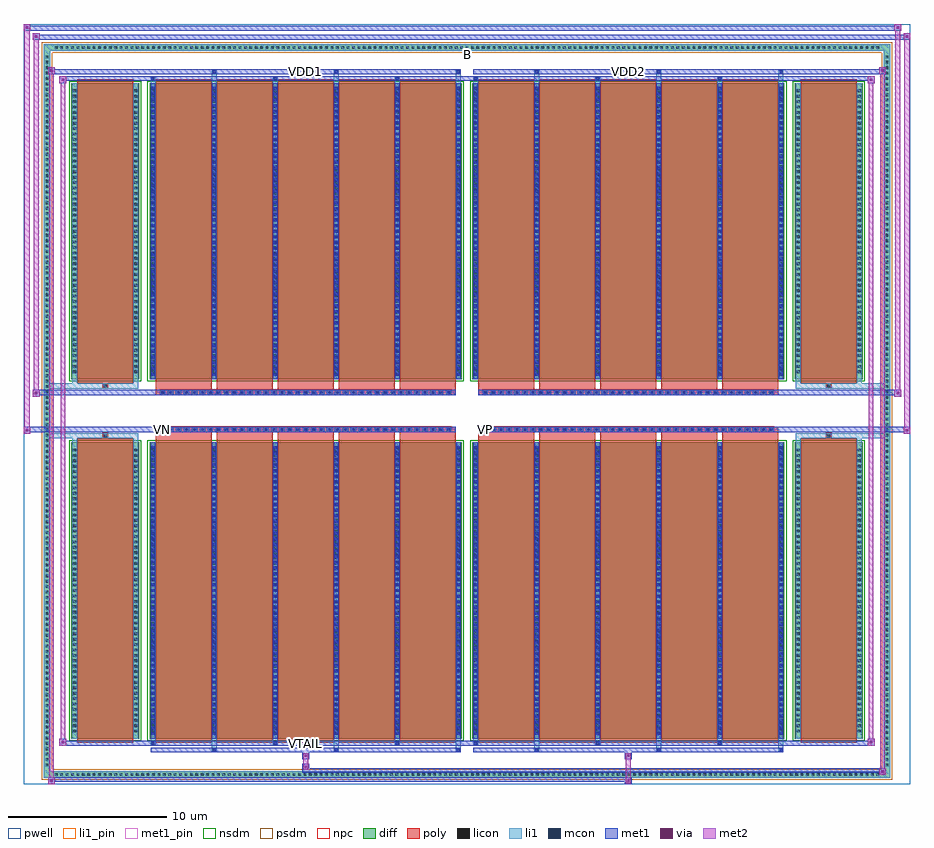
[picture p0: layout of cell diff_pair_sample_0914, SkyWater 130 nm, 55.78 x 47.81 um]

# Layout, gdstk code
import gdstk
lib = gdstk.Library(unit=1e-6, precision=5e-09)
def R(c, l, rs):  # rectangles x0, y0, x1, y1
    for r in rs: c.add(gdstk.rectangle(r[:2], r[2:], *l))
def A(c, l, x, y, w, h, nx, ny, dx, dy):  # array of equal rectangles
    R(c, l, [(x+i*dx, y+j*dy, x+i*dx+w, y+j*dy+h) for i in range(nx) for j in range(ny)])
def P(c, l, *ps):  # polygons
    for p in ps: c.add(gdstk.Polygon(p, *l))
pwell = (64, 44)
diff = (65, 20)
poly = (66, 20)
licon = (66, 44)
li1_pin = (67, 16)
li1 = (67, 20)
mcon = (67, 44)
met1_pin = (68, 16)
met1 = (68, 20)
via = (68, 44)
met2 = (69, 20)
nsdm = (93, 44)
psdm = (94, 20)
npc = (95, 20)

diff_pair_sample_0914 = lib.new_cell('diff_pair_sample_0914')
R(diff_pair_sample_0914, pwell, [(-27.89,-23.47,27.89,24.34), (-25.21,-21.66,-0.01,-0.8), (0.01,-21.66,25.21,-0.8), (-25.21,0.8,-0.01,21.66), (0.01,0.8,25.21,21.66)])
A(diff_pair_sample_0914, diff, -26.045, -23.07, 0.41, 0.41, 153, 2, 0.34, 45.73)
A(diff_pair_sample_0914, diff, -26.62, -22.475, 0.41, 0.41, 1, 132, 0, 0.34)
A(diff_pair_sample_0914, diff, 26.21, -22.475, 0.41, 0.41, 1, 132, 0, 0.34)
R(diff_pair_sample_0914, diff, [(-26.045,-23.07,26.045,-22.66), (-26.62,-22.475,-26.21,22.475), (26.21,-22.475,26.62,22.475), (-24.9,-20.615,-20.61,-1.985), (-19.97,-20.615,-0.32,-1.985), (0.32,-20.615,19.97,-1.985), (20.61,-20.615,24.9,-1.985), (-24.9,1.985,-20.61,20.615), (-19.97,1.985,-0.32,20.615), (0.32,1.985,19.97,20.615), (20.61,1.985,24.9,20.615), (-26.045,22.66,26.045,23.07)])
P(diff_pair_sample_0914, diff, [(26.62,23.07),(-26.62,23.07),(-26.62,-22.66),(-26.21,-22.66),(-26.21,22.66),(26.21,22.66),(26.21,-22.66),(-26.21,-22.66),(-26.62,-22.66),(-26.62,-23.07),(26.62,-23.07)])
A(diff_pair_sample_0914, poly, -19.58, -20.865, 3.51, 19.13, 5, 2, 3.84, 22.6)
A(diff_pair_sample_0914, poly, 0.71, -20.865, 3.51, 19.13, 5, 2, 3.84, 22.6)
A(diff_pair_sample_0914, poly, -19.58, -1.735, 3.51, 0.405, 5, 2, 3.84, 3.065)
A(diff_pair_sample_0914, poly, 0.71, -1.735, 3.51, 0.405, 5, 2, 3.84, 3.065)
A(diff_pair_sample_0914, poly, -19.31, -1.33, 0.33, 0.33, 37, 2, 0.5, 2.33)
A(diff_pair_sample_0914, poly, 0.98, -1.33, 0.33, 0.33, 37, 2, 0.5, 2.33)
R(diff_pair_sample_0914, poly, [(-24.51,-20.865,-21,-1.735), (21,-20.865,24.51,-1.735), (-22.92,-1.735,-22.59,-1.405), (-22.92,-1.735,-22.59,-1.405), (22.59,-1.735,22.92,-1.405), (22.59,-1.735,22.92,-1.405), (-19.58,-1.33,-0.71,-1), (0.71,-1.33,19.58,-1), (-19.58,1,-0.71,1.33), (0.71,1,19.58,1.33), (-22.92,1.405,-22.59,1.735), (-22.92,1.405,-22.59,1.735), (22.59,1.405,22.92,1.735), (22.59,1.405,22.92,1.735), (-24.51,1.735,-21,20.865), (21,1.735,24.51,20.865)])
A(diff_pair_sample_0914, licon, -25.925, -22.95, 0.17, 0.17, 153, 2, 0.34, 45.73)
A(diff_pair_sample_0914, licon, -26.5, -22.355, 0.17, 0.17, 1, 132, 0, 0.34)
A(diff_pair_sample_0914, licon, 26.33, -22.355, 0.17, 0.17, 1, 132, 0, 0.34)
A(diff_pair_sample_0914, licon, -24.76, -20.225, 0.17, 0.17, 1, 53, 0, 0.34)
A(diff_pair_sample_0914, licon, -20.92, -20.225, 0.17, 0.17, 1, 53, 0, 0.34)
A(diff_pair_sample_0914, licon, -19.83, -20.225, 0.17, 0.17, 6, 53, 3.84, 0.34)
A(diff_pair_sample_0914, licon, 0.46, -20.225, 0.17, 0.17, 6, 53, 3.84, 0.34)
A(diff_pair_sample_0914, licon, 20.75, -20.225, 0.17, 0.17, 1, 53, 0, 0.34)
A(diff_pair_sample_0914, licon, 24.59, -20.225, 0.17, 0.17, 1, 53, 0, 0.34)
A(diff_pair_sample_0914, licon, -19.23, -1.25, 0.17, 0.17, 37, 2, 0.5, 2.33)
A(diff_pair_sample_0914, licon, 1.06, -1.25, 0.17, 0.17, 37, 2, 0.5, 2.33)
A(diff_pair_sample_0914, licon, -24.76, 2.375, 0.17, 0.17, 1, 53, 0, 0.34)
A(diff_pair_sample_0914, licon, -20.92, 2.375, 0.17, 0.17, 1, 53, 0, 0.34)
A(diff_pair_sample_0914, licon, -19.83, 2.375, 0.17, 0.17, 6, 53, 3.84, 0.34)
A(diff_pair_sample_0914, licon, 0.46, 2.375, 0.17, 0.17, 6, 53, 3.84, 0.34)
A(diff_pair_sample_0914, licon, 20.75, 2.375, 0.17, 0.17, 1, 53, 0, 0.34)
A(diff_pair_sample_0914, licon, 24.59, 2.375, 0.17, 0.17, 1, 53, 0, 0.34)
R(diff_pair_sample_0914, licon, [(-22.84,-1.655,-22.67,-1.485), (22.67,-1.655,22.84,-1.485), (-22.84,1.485,-22.67,1.655), (22.67,1.485,22.84,1.655)])
R(diff_pair_sample_0914, li1_pin, [(-0.25,22.16,0.25,22.66)])
A(diff_pair_sample_0914, li1, -26.005, -23.03, 0.33, 0.33, 153, 2, 0.34, 45.73)
A(diff_pair_sample_0914, li1, -26.58, -22.435, 0.33, 0.33, 1, 132, 0, 0.34)
A(diff_pair_sample_0914, li1, 26.25, -22.435, 0.33, 0.33, 1, 132, 0, 0.34)
A(diff_pair_sample_0914, li1, -16.07, -21.42, 0.33, 0.805, 3, 2, 7.68, 42.035)
A(diff_pair_sample_0914, li1, -15.99, -21.42, 0.17, 0.17, 3, 2, 7.68, 42.67)
A(diff_pair_sample_0914, li1, 4.22, -21.42, 0.33, 0.805, 3, 2, 7.68, 42.035)
A(diff_pair_sample_0914, li1, 4.3, -21.42, 0.17, 0.17, 3, 2, 7.68, 42.67)
A(diff_pair_sample_0914, li1, -19.91, -20.99, 0.33, 0.375, 3, 2, 7.68, 41.605)
A(diff_pair_sample_0914, li1, -19.83, -20.99, 0.17, 0.17, 3, 2, 7.68, 41.81)
A(diff_pair_sample_0914, li1, 0.38, -20.99, 0.33, 0.375, 3, 2, 7.68, 41.605)
A(diff_pair_sample_0914, li1, 0.46, -20.99, 0.17, 0.17, 3, 2, 7.68, 41.81)
A(diff_pair_sample_0914, li1, -19.91, -20.615, 0.33, 18.63, 6, 2, 3.84, 22.6)
A(diff_pair_sample_0914, li1, 0.38, -20.615, 0.33, 18.63, 6, 2, 3.84, 22.6)
A(diff_pair_sample_0914, li1, -19.83, -20.385, 0.17, 0.17, 6, 51, 3.84, 0.36)
A(diff_pair_sample_0914, li1, -19.83, -20.385, 0.17, 18.17, 6, 2, 3.84, 22.6)
A(diff_pair_sample_0914, li1, 0.46, -20.385, 0.17, 0.17, 6, 51, 3.84, 0.36)
A(diff_pair_sample_0914, li1, 0.46, -20.385, 0.17, 18.17, 6, 2, 3.84, 22.6)
A(diff_pair_sample_0914, li1, -24.84, -20.305, 0.33, 0.33, 1, 53, 0, 0.34)
A(diff_pair_sample_0914, li1, -21, -20.305, 0.33, 0.33, 1, 53, 0, 0.34)
A(diff_pair_sample_0914, li1, -19.91, -20.305, 0.33, 0.33, 6, 53, 3.84, 0.34)
A(diff_pair_sample_0914, li1, 0.38, -20.305, 0.33, 0.33, 6, 53, 3.84, 0.34)
A(diff_pair_sample_0914, li1, 20.67, -20.305, 0.33, 0.33, 1, 53, 0, 0.34)
A(diff_pair_sample_0914, li1, 24.51, -20.305, 0.33, 0.33, 1, 53, 0, 0.34)
A(diff_pair_sample_0914, li1, -19.31, -1.33, 0.33, 0.33, 37, 2, 0.5, 2.33)
A(diff_pair_sample_0914, li1, 0.98, -1.33, 0.33, 0.33, 37, 2, 0.5, 2.33)
A(diff_pair_sample_0914, li1, -19.83, 2.215, 0.17, 0.17, 6, 51, 3.84, 0.36)
A(diff_pair_sample_0914, li1, 0.46, 2.215, 0.17, 0.17, 6, 51, 3.84, 0.36)
A(diff_pair_sample_0914, li1, -24.84, 2.295, 0.33, 0.33, 1, 53, 0, 0.34)
A(diff_pair_sample_0914, li1, -21, 2.295, 0.33, 0.33, 1, 53, 0, 0.34)
A(diff_pair_sample_0914, li1, -19.91, 2.295, 0.33, 0.33, 6, 53, 3.84, 0.34)
A(diff_pair_sample_0914, li1, 0.38, 2.295, 0.33, 0.33, 6, 53, 3.84, 0.34)
A(diff_pair_sample_0914, li1, 20.67, 2.295, 0.33, 0.33, 1, 53, 0, 0.34)
A(diff_pair_sample_0914, li1, 24.51, 2.295, 0.33, 0.33, 1, 53, 0, 0.34)
R(diff_pair_sample_0914, li1, [(-26.62,-23.07,-26.21,-22.66), (-26.62,-23.07,-26.21,-22.66), (-26.21,-23.07,26.21,-22.66), (26.21,-23.07,26.62,-22.66), (26.21,-23.07,26.62,-22.66), (-26.62,-22.66,-26.21,22.66), (26.21,-22.66,26.62,22.66), (-24.84,-20.615,-24.51,-1.985), (-21,-20.615,-20.67,-1.985), (20.67,-20.615,21,-1.985), (24.51,-20.615,24.84,-1.985), (-24.84,-1.985,-24.51,-1.405), (-21,-1.985,-20.67,-1.405), (20.67,-1.985,21,-1.405), (24.51,-1.985,24.84,-1.405), (-26.62,-1.735,-22.92,-1.405), (-24.84,-1.735,-22.92,-1.405), (-22.92,-1.735,-22.59,-1.405), (-22.59,-1.735,-20.67,-1.405), (20.67,-1.735,22.59,-1.405), (22.59,-1.735,22.92,-1.405), (22.59,-1.735,26.62,-1.405), (22.92,-1.735,24.84,-1.405), (-26.62,1.405,-22.92,1.735), (-24.84,1.405,-22.92,1.735), (-24.84,1.405,-24.51,1.985), (-22.92,1.405,-22.59,1.735), (-22.59,1.405,-20.67,1.735), (-21,1.405,-20.67,1.985), (20.67,1.405,22.59,1.735), (20.67,1.405,21,1.985), (22.59,1.405,22.92,1.735), (22.59,1.405,26.62,1.735), (22.92,1.405,24.84,1.735), (24.51,1.405,24.84,1.985), (-24.84,1.985,-24.51,20.615), (-21,1.985,-20.67,20.615), (20.67,1.985,21,20.615), (24.51,1.985,24.84,20.615), (-26.62,22.66,-26.21,23.07), (-26.62,22.66,-26.21,23.07), (-26.21,22.66,26.21,23.07), (26.21,22.66,26.62,23.07), (26.21,22.66,26.62,23.07)])
A(diff_pair_sample_0914, mcon, -15.99, -21.42, 0.17, 0.17, 3, 2, 7.68, 42.67)
A(diff_pair_sample_0914, mcon, 4.3, -21.42, 0.17, 0.17, 3, 2, 7.68, 42.67)
A(diff_pair_sample_0914, mcon, -19.83, -20.99, 0.17, 0.17, 3, 2, 7.68, 41.81)
A(diff_pair_sample_0914, mcon, 0.46, -20.99, 0.17, 0.17, 3, 2, 7.68, 41.81)
A(diff_pair_sample_0914, mcon, -19.83, -20.385, 0.17, 0.17, 6, 51, 3.84, 0.36)
A(diff_pair_sample_0914, mcon, 0.46, -20.385, 0.17, 0.17, 6, 51, 3.84, 0.36)
A(diff_pair_sample_0914, mcon, -19.23, -1.25, 0.17, 0.17, 37, 2, 0.5, 2.33)
A(diff_pair_sample_0914, mcon, 1.06, -1.25, 0.17, 0.17, 37, 2, 0.5, 2.33)
A(diff_pair_sample_0914, mcon, -19.83, 2.215, 0.17, 0.17, 6, 51, 3.84, 0.36)
A(diff_pair_sample_0914, mcon, 0.46, 2.215, 0.17, 0.17, 6, 51, 3.84, 0.36)
R(diff_pair_sample_0914, met1_pin, [(-10.28,-21.03,-10.01,-20.76), (-19.28,-1.29,-19.01,-1.02), (1.01,-1.29,1.28,-1.02), (-10.28,21.21,-10.01,21.48), (10.01,21.21,10.28,21.48)])
A(diff_pair_sample_0914, met1, -16.05, -21.48, 0.29, 0.29, 3, 2, 7.68, 42.67)
A(diff_pair_sample_0914, met1, 4.24, -21.48, 0.29, 0.29, 3, 2, 7.68, 42.67)
A(diff_pair_sample_0914, met1, -19.89, -21.05, 0.29, 0.29, 3, 2, 7.68, 41.81)
A(diff_pair_sample_0914, met1, 0.4, -21.05, 0.29, 0.29, 3, 2, 7.68, 41.81)
A(diff_pair_sample_0914, met1, -19.89, -20.615, 0.29, 18.63, 6, 2, 3.84, 22.6)
A(diff_pair_sample_0914, met1, 0.4, -20.615, 0.29, 18.63, 6, 2, 3.84, 22.6)
A(diff_pair_sample_0914, met1, -19.89, -20.445, 0.29, 0.29, 6, 51, 3.84, 0.36)
A(diff_pair_sample_0914, met1, 0.4, -20.445, 0.29, 0.29, 6, 51, 3.84, 0.36)
A(diff_pair_sample_0914, met1, -19.29, -1.31, 0.29, 0.29, 37, 2, 0.5, 2.33)
A(diff_pair_sample_0914, met1, 1, -1.31, 0.29, 0.29, 37, 2, 0.5, 2.33)
A(diff_pair_sample_0914, met1, -19.89, 2.155, 0.29, 0.29, 6, 51, 3.84, 0.36)
A(diff_pair_sample_0914, met1, 0.4, 2.155, 0.29, 0.29, 6, 51, 3.84, 0.36)
R(diff_pair_sample_0914, met1, [(-26.35,-23.47,-25.92,-23.04), (9.93,-23.47,10.36,-23.04), (-26.35,-23.33,10.36,-23.04), (25.92,-22.9,26.35,-22.47), (-10.36,-22.76,26.35,-22.47), (-10.36,-22.62,-9.93,-22.19), (-10.36,-21.91,-9.93,-21.48), (9.93,-21.91,10.36,-21.48), (-19.89,-21.48,-0.4,-21.19), (0.4,-21.48,19.89,-21.19), (-25.64,-21.05,-25.21,-20.62), (-25.64,-21.05,-19.89,-20.76), (-19.89,-21.05,-0.4,-20.76), (-0.4,-21.05,0.4,-20.76), (0.4,-21.05,19.89,-20.76), (19.89,-21.05,25.64,-20.76), (25.21,-21.05,25.64,-20.62), (-27.89,-1.43,-27.46,-1), (27.46,-1.43,27.89,-1), (-27.89,-1.33,-0.71,-1), (-19.58,-1.33,-0.71,-1), (0.71,-1.33,19.58,-1), (0.71,-1.33,27.89,-1), (-27.32,0.9,-26.89,1.33), (26.89,0.9,27.32,1.33), (-27.32,1,-19.58,1.33), (-19.58,1,-0.71,1.33), (0.71,1,19.58,1.33), (19.58,1,27.32,1.33), (-25.64,20.62,-25.21,21.05), (25.21,20.62,25.64,21.05), (-25.64,20.76,-19.89,21.05), (-19.89,20.76,-0.4,21.05), (-0.4,20.76,0.4,21.05), (0.4,20.76,19.89,21.05), (19.89,20.76,25.64,21.05), (-26.35,21.19,-25.92,21.62), (-26.35,21.19,-19.89,21.48), (-19.89,21.19,-0.4,21.48), (0.4,21.19,19.89,21.48), (19.89,21.19,26.35,21.48), (25.92,21.19,26.35,21.62), (-27.32,23.34,-26.89,23.77), (-27.32,23.34,-25.21,23.67), (-25.21,23.34,25.21,23.67), (25.21,23.34,27.89,23.67), (27.46,23.34,27.89,23.77), (-27.89,23.91,-27.46,24.34), (-27.89,23.91,-25.21,24.24), (-25.21,23.91,25.21,24.24), (25.21,23.91,27.32,24.24), (26.89,23.91,27.32,24.34)])
R(diff_pair_sample_0914, via, [(-26.21,-23.33,-26.06,-23.18), (10.07,-23.33,10.22,-23.18), (26.06,-22.76,26.21,-22.61), (-10.22,-22.48,-10.07,-22.33), (-10.22,-21.77,-10.07,-21.62), (10.07,-21.77,10.22,-21.62), (-25.5,-20.91,-25.35,-20.76), (25.35,-20.91,25.5,-20.76), (-27.75,-1.29,-27.6,-1.14), (27.6,-1.29,27.75,-1.14), (-27.18,1.04,-27.03,1.19), (27.03,1.04,27.18,1.19), (-25.5,20.76,-25.35,20.91), (25.35,20.76,25.5,20.91), (-26.21,21.33,-26.06,21.48), (26.06,21.33,26.21,21.48), (-27.18,23.48,-27.03,23.63), (27.6,23.48,27.75,23.63), (-27.75,24.05,-27.6,24.2), (27.03,24.05,27.18,24.2)])
R(diff_pair_sample_0914, met2, [(-26.35,-23.47,-25.92,-23.04), (-26.28,-23.47,-25.99,21.62), (-25.99,-23.47,-25.92,-23.04), (-26.3,-23.42,-25.97,-23.09), (9.98,-23.42,10.31,-23.09), (9.98,-23.09,10.31,-21.86), (25.92,-22.9,26.35,-22.47), (25.99,-22.9,26.28,21.62), (26.28,-22.9,26.35,-22.47), (25.97,-22.85,26.3,-22.52), (-10.31,-22.57,-9.98,-22.24), (-10.31,-22.24,-9.98,-21.86), (-10.31,-21.86,-9.98,-21.53), (9.98,-21.86,10.31,-21.53), (-25.64,-21.05,-25.21,-20.62), (-25.57,-21.05,-25.28,21.05), (-25.28,-21.05,-25.21,-20.62), (25.21,-21.05,25.64,-20.62), (25.28,-21.05,25.57,21.05), (25.57,-21.05,25.64,-20.62), (-25.59,-21,-25.26,-20.67), (25.26,-21,25.59,-20.67), (-27.89,-1.43,-27.46,-1), (-27.84,-1.43,-27.51,24.34), (-27.51,-1.43,-27.46,-1), (27.46,-1.43,27.89,-1), (27.51,-1.43,27.84,23.77), (27.84,-1.43,27.89,-1), (-27.84,-1.38,-27.51,-1.05), (27.51,-1.38,27.84,-1.05), (-27.32,0.9,-26.89,1.33), (-27.27,0.9,-26.94,23.77), (-26.94,0.9,-26.89,1.33), (26.89,0.9,27.32,1.33), (26.94,0.9,27.27,24.34), (27.27,0.9,27.32,1.33), (-27.27,0.95,-26.94,1.28), (26.94,0.95,27.27,1.28), (-25.64,20.62,-25.21,21.05), (-25.28,20.62,-25.21,21.05), (25.21,20.62,25.64,21.05), (25.57,20.62,25.64,21.05), (-25.59,20.67,-25.26,21), (25.26,20.67,25.59,21), (-26.35,21.19,-25.92,21.62), (-25.99,21.19,-25.92,21.62), (25.92,21.19,26.35,21.62), (26.28,21.19,26.35,21.62), (-26.3,21.24,-25.97,21.57), (25.97,21.24,26.3,21.57), (-27.32,23.34,-26.89,23.77), (-26.94,23.34,-26.89,23.77), (27.46,23.34,27.89,23.77), (27.84,23.34,27.89,23.77), (-27.27,23.39,-26.94,23.72), (27.51,23.39,27.84,23.72), (-27.89,23.91,-27.46,24.34), (-27.51,23.91,-27.46,24.34), (26.89,23.91,27.32,24.34), (27.27,23.91,27.32,24.34), (-27.84,23.96,-27.51,24.29), (26.94,23.96,27.27,24.29)])
R(diff_pair_sample_0914, nsdm, [(-25.03,-20.745,-20.48,-1.855), (-20.1,-20.745,-0.19,-1.855), (0.19,-20.745,20.1,-1.855), (20.48,-20.745,25.03,-1.855), (-25.03,1.855,-20.48,20.745), (-20.1,1.855,-0.19,20.745), (0.19,1.855,20.1,20.745), (20.48,1.855,25.03,20.745)])
P(diff_pair_sample_0914, psdm, [(26.75,23.2),(-26.75,23.2),(-26.75,-22.53),(-26.08,-22.53),(-26.08,22.53),(26.08,22.53),(26.08,-22.53),(-26.08,-22.53),(-26.75,-22.53),(-26.75,-23.2),(26.75,-23.2)])
A(diff_pair_sample_0914, npc, -19.33, -1.35, 0.37, 0.37, 37, 2, 0.5, 2.33)
A(diff_pair_sample_0914, npc, 0.96, -1.35, 0.37, 0.37, 37, 2, 0.5, 2.33)
R(diff_pair_sample_0914, npc, [(-22.94,-1.755,-22.57,-1.385), (22.57,-1.755,22.94,-1.385), (-19.33,-1.35,-18.46,-0.98), (-19.33,-1.35,-18.46,-0.98), (-18.83,-1.35,-17.96,-0.98), (-18.83,-1.35,-17.96,-0.98), (-18.33,-1.35,-17.46,-0.98), (-18.33,-1.35,-17.46,-0.98), (-17.83,-1.35,-16.96,-0.98), (-17.83,-1.35,-16.96,-0.98), (-17.33,-1.35,-16.46,-0.98), (-17.33,-1.35,-16.46,-0.98), (-16.83,-1.35,-15.96,-0.98), (-16.83,-1.35,-15.96,-0.98), (-16.33,-1.35,-15.46,-0.98), (-16.33,-1.35,-15.46,-0.98), (-15.83,-1.35,-14.96,-0.98), (-15.83,-1.35,-14.96,-0.98), (-15.33,-1.35,-14.46,-0.98), (-15.33,-1.35,-14.46,-0.98), (-14.83,-1.35,-13.96,-0.98), (-14.83,-1.35,-13.96,-0.98), (-14.33,-1.35,-13.46,-0.98), (-14.33,-1.35,-13.46,-0.98), (-13.83,-1.35,-12.96,-0.98), (-13.83,-1.35,-12.96,-0.98), (-13.33,-1.35,-12.46,-0.98), (-13.33,-1.35,-12.46,-0.98), (-12.83,-1.35,-11.96,-0.98), (-12.83,-1.35,-11.96,-0.98), (-12.33,-1.35,-11.46,-0.98), (-12.33,-1.35,-11.46,-0.98), (-11.83,-1.35,-10.96,-0.98), (-11.83,-1.35,-10.96,-0.98), (-11.33,-1.35,-10.46,-0.98), (-11.33,-1.35,-10.46,-0.98), (-10.83,-1.35,-9.96,-0.98), (-10.83,-1.35,-9.96,-0.98), (-10.33,-1.35,-9.46,-0.98), (-10.33,-1.35,-9.46,-0.98), (-9.83,-1.35,-8.96,-0.98), (-9.83,-1.35,-8.96,-0.98), (-9.33,-1.35,-8.46,-0.98), (-9.33,-1.35,-8.46,-0.98), (-8.83,-1.35,-7.96,-0.98), (-8.83,-1.35,-7.96,-0.98), (-8.33,-1.35,-7.46,-0.98), (-8.33,-1.35,-7.46,-0.98), (-7.83,-1.35,-6.96,-0.98), (-7.83,-1.35,-6.96,-0.98), (-7.33,-1.35,-6.46,-0.98), (-7.33,-1.35,-6.46,-0.98), (-6.83,-1.35,-5.96,-0.98), (-6.83,-1.35,-5.96,-0.98), (-6.33,-1.35,-5.46,-0.98), (-6.33,-1.35,-5.46,-0.98), (-5.83,-1.35,-4.96,-0.98), (-5.83,-1.35,-4.96,-0.98), (-5.33,-1.35,-4.46,-0.98), (-5.33,-1.35,-4.46,-0.98), (-4.83,-1.35,-3.96,-0.98), (-4.83,-1.35,-3.96,-0.98), (-4.33,-1.35,-3.46,-0.98), (-4.33,-1.35,-3.46,-0.98), (-3.83,-1.35,-2.96,-0.98), (-3.83,-1.35,-2.96,-0.98), (-3.33,-1.35,-2.46,-0.98), (-3.33,-1.35,-2.46,-0.98), (-2.83,-1.35,-1.96,-0.98), (-2.83,-1.35,-1.96,-0.98), (-2.33,-1.35,-1.46,-0.98), (-2.33,-1.35,-1.46,-0.98), (-1.83,-1.35,-0.96,-0.98), (-1.83,-1.35,-0.96,-0.98), (0.96,-1.35,1.83,-0.98), (0.96,-1.35,1.83,-0.98), (1.46,-1.35,2.33,-0.98), (1.46,-1.35,2.33,-0.98), (1.96,-1.35,2.83,-0.98), (1.96,-1.35,2.83,-0.98), (2.46,-1.35,3.33,-0.98), (2.46,-1.35,3.33,-0.98), (2.96,-1.35,3.83,-0.98), (2.96,-1.35,3.83,-0.98), (3.46,-1.35,4.33,-0.98), (3.46,-1.35,4.33,-0.98), (3.96,-1.35,4.83,-0.98), (3.96,-1.35,4.83,-0.98), (4.46,-1.35,5.33,-0.98), (4.46,-1.35,5.33,-0.98), (4.96,-1.35,5.83,-0.98), (4.96,-1.35,5.83,-0.98), (5.46,-1.35,6.33,-0.98), (5.46,-1.35,6.33,-0.98), (5.96,-1.35,6.83,-0.98), (5.96,-1.35,6.83,-0.98), (6.46,-1.35,7.33,-0.98), (6.46,-1.35,7.33,-0.98), (6.96,-1.35,7.83,-0.98), (6.96,-1.35,7.83,-0.98), (7.46,-1.35,8.33,-0.98), (7.46,-1.35,8.33,-0.98), (7.96,-1.35,8.83,-0.98), (7.96,-1.35,8.83,-0.98), (8.46,-1.35,9.33,-0.98), (8.46,-1.35,9.33,-0.98), (8.96,-1.35,9.83,-0.98), (8.96,-1.35,9.83,-0.98), (9.46,-1.35,10.33,-0.98), (9.46,-1.35,10.33,-0.98), (9.96,-1.35,10.83,-0.98), (9.96,-1.35,10.83,-0.98), (10.46,-1.35,11.33,-0.98), (10.46,-1.35,11.33,-0.98), (10.96,-1.35,11.83,-0.98), (10.96,-1.35,11.83,-0.98), (11.46,-1.35,12.33,-0.98), (11.46,-1.35,12.33,-0.98), (11.96,-1.35,12.83,-0.98), (11.96,-1.35,12.83,-0.98), (12.46,-1.35,13.33,-0.98), (12.46,-1.35,13.33,-0.98), (12.96,-1.35,13.83,-0.98), (12.96,-1.35,13.83,-0.98), (13.46,-1.35,14.33,-0.98), (13.46,-1.35,14.33,-0.98), (13.96,-1.35,14.83,-0.98), (13.96,-1.35,14.83,-0.98), (14.46,-1.35,15.33,-0.98), (14.46,-1.35,15.33,-0.98), (14.96,-1.35,15.83,-0.98), (14.96,-1.35,15.83,-0.98), (15.46,-1.35,16.33,-0.98), (15.46,-1.35,16.33,-0.98), (15.96,-1.35,16.83,-0.98), (15.96,-1.35,16.83,-0.98), (16.46,-1.35,17.33,-0.98), (16.46,-1.35,17.33,-0.98), (16.96,-1.35,17.83,-0.98), (16.96,-1.35,17.83,-0.98), (17.46,-1.35,18.33,-0.98), (17.46,-1.35,18.33,-0.98), (17.96,-1.35,18.83,-0.98), (17.96,-1.35,18.83,-0.98), (18.46,-1.35,19.33,-0.98), (18.46,-1.35,19.33,-0.98), (-19.33,0.98,-18.46,1.35), (-19.33,0.98,-18.46,1.35), (-18.83,0.98,-17.96,1.35), (-18.83,0.98,-17.96,1.35), (-18.33,0.98,-17.46,1.35), (-18.33,0.98,-17.46,1.35), (-17.83,0.98,-16.96,1.35), (-17.83,0.98,-16.96,1.35), (-17.33,0.98,-16.46,1.35), (-17.33,0.98,-16.46,1.35), (-16.83,0.98,-15.96,1.35), (-16.83,0.98,-15.96,1.35), (-16.33,0.98,-15.46,1.35), (-16.33,0.98,-15.46,1.35), (-15.83,0.98,-14.96,1.35), (-15.83,0.98,-14.96,1.35), (-15.33,0.98,-14.46,1.35), (-15.33,0.98,-14.46,1.35), (-14.83,0.98,-13.96,1.35), (-14.83,0.98,-13.96,1.35), (-14.33,0.98,-13.46,1.35), (-14.33,0.98,-13.46,1.35), (-13.83,0.98,-12.96,1.35), (-13.83,0.98,-12.96,1.35), (-13.33,0.98,-12.46,1.35), (-13.33,0.98,-12.46,1.35), (-12.83,0.98,-11.96,1.35), (-12.83,0.98,-11.96,1.35), (-12.33,0.98,-11.46,1.35), (-12.33,0.98,-11.46,1.35), (-11.83,0.98,-10.96,1.35), (-11.83,0.98,-10.96,1.35), (-11.33,0.98,-10.46,1.35), (-11.33,0.98,-10.46,1.35), (-10.83,0.98,-9.96,1.35), (-10.83,0.98,-9.96,1.35), (-10.33,0.98,-9.46,1.35), (-10.33,0.98,-9.46,1.35), (-9.83,0.98,-8.96,1.35), (-9.83,0.98,-8.96,1.35), (-9.33,0.98,-8.46,1.35), (-9.33,0.98,-8.46,1.35), (-8.83,0.98,-7.96,1.35), (-8.83,0.98,-7.96,1.35), (-8.33,0.98,-7.46,1.35), (-8.33,0.98,-7.46,1.35), (-7.83,0.98,-6.96,1.35), (-7.83,0.98,-6.96,1.35), (-7.33,0.98,-6.46,1.35), (-7.33,0.98,-6.46,1.35), (-6.83,0.98,-5.96,1.35), (-6.83,0.98,-5.96,1.35), (-6.33,0.98,-5.46,1.35), (-6.33,0.98,-5.46,1.35), (-5.83,0.98,-4.96,1.35), (-5.83,0.98,-4.96,1.35), (-5.33,0.98,-4.46,1.35), (-5.33,0.98,-4.46,1.35), (-4.83,0.98,-3.96,1.35), (-4.83,0.98,-3.96,1.35), (-4.33,0.98,-3.46,1.35), (-4.33,0.98,-3.46,1.35), (-3.83,0.98,-2.96,1.35), (-3.83,0.98,-2.96,1.35), (-3.33,0.98,-2.46,1.35), (-3.33,0.98,-2.46,1.35), (-2.83,0.98,-1.96,1.35), (-2.83,0.98,-1.96,1.35), (-2.33,0.98,-1.46,1.35), (-2.33,0.98,-1.46,1.35), (-1.83,0.98,-0.96,1.35), (-1.83,0.98,-0.96,1.35), (0.96,0.98,1.83,1.35), (0.96,0.98,1.83,1.35), (1.46,0.98,2.33,1.35), (1.46,0.98,2.33,1.35), (1.96,0.98,2.83,1.35), (1.96,0.98,2.83,1.35), (2.46,0.98,3.33,1.35), (2.46,0.98,3.33,1.35), (2.96,0.98,3.83,1.35), (2.96,0.98,3.83,1.35), (3.46,0.98,4.33,1.35), (3.46,0.98,4.33,1.35), (3.96,0.98,4.83,1.35), (3.96,0.98,4.83,1.35), (4.46,0.98,5.33,1.35), (4.46,0.98,5.33,1.35), (4.96,0.98,5.83,1.35), (4.96,0.98,5.83,1.35), (5.46,0.98,6.33,1.35), (5.46,0.98,6.33,1.35), (5.96,0.98,6.83,1.35), (5.96,0.98,6.83,1.35), (6.46,0.98,7.33,1.35), (6.46,0.98,7.33,1.35), (6.96,0.98,7.83,1.35), (6.96,0.98,7.83,1.35), (7.46,0.98,8.33,1.35), (7.46,0.98,8.33,1.35), (7.96,0.98,8.83,1.35), (7.96,0.98,8.83,1.35), (8.46,0.98,9.33,1.35), (8.46,0.98,9.33,1.35), (8.96,0.98,9.83,1.35), (8.96,0.98,9.83,1.35), (9.46,0.98,10.33,1.35), (9.46,0.98,10.33,1.35), (9.96,0.98,10.83,1.35), (9.96,0.98,10.83,1.35), (10.46,0.98,11.33,1.35), (10.46,0.98,11.33,1.35), (10.96,0.98,11.83,1.35), (10.96,0.98,11.83,1.35), (11.46,0.98,12.33,1.35), (11.46,0.98,12.33,1.35), (11.96,0.98,12.83,1.35), (11.96,0.98,12.83,1.35), (12.46,0.98,13.33,1.35), (12.46,0.98,13.33,1.35), (12.96,0.98,13.83,1.35), (12.96,0.98,13.83,1.35), (13.46,0.98,14.33,1.35), (13.46,0.98,14.33,1.35), (13.96,0.98,14.83,1.35), (13.96,0.98,14.83,1.35), (14.46,0.98,15.33,1.35), (14.46,0.98,15.33,1.35), (14.96,0.98,15.83,1.35), (14.96,0.98,15.83,1.35), (15.46,0.98,16.33,1.35), (15.46,0.98,16.33,1.35), (15.96,0.98,16.83,1.35), (15.96,0.98,16.83,1.35), (16.46,0.98,17.33,1.35), (16.46,0.98,17.33,1.35), (16.96,0.98,17.83,1.35), (16.96,0.98,17.83,1.35), (17.46,0.98,18.33,1.35), (17.46,0.98,18.33,1.35), (17.96,0.98,18.83,1.35), (17.96,0.98,18.83,1.35), (18.46,0.98,19.33,1.35), (18.46,0.98,19.33,1.35), (-22.94,1.385,-22.57,1.755), (22.57,1.385,22.94,1.755)])
diff_pair_sample_0914.add(gdstk.Label('VTAIL', (-10.145,-20.895), layer=68, texttype=5))
diff_pair_sample_0914.add(gdstk.Label('VN', (-19.145,-1.155), layer=68, texttype=5))
diff_pair_sample_0914.add(gdstk.Label('VP', (1.145,-1.155), layer=68, texttype=5))
diff_pair_sample_0914.add(gdstk.Label('B', (0,22.41), layer=67, texttype=5))
diff_pair_sample_0914.add(gdstk.Label('VDD2', (10.145,21.345), layer=68, texttype=5))
diff_pair_sample_0914.add(gdstk.Label('VDD1', (-10.145,21.345), layer=68, texttype=5))

lib.write_gds('diff_pair_sample_0914.gds')
